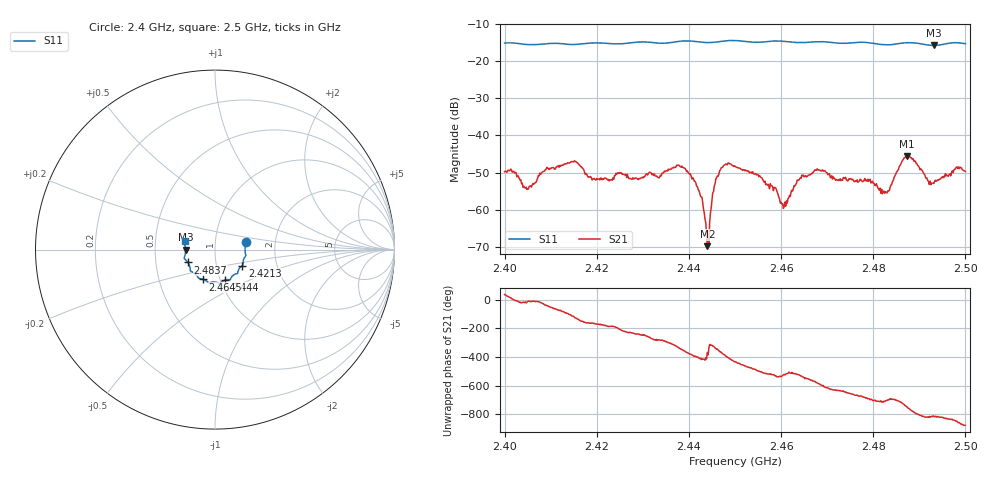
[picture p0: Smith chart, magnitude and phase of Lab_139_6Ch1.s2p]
# Hz S RI R 50
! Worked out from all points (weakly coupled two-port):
!   601 points, 2.4 GHz to 2.5 GHz, reference 50 ohm
!   highest |S21| = -45.60 dB at 2.4873 GHz (marker M1); lowest = -69.9 dB at 2.444 GHz (marker M2)
!   lowest |S11| = -15.7 dB at 2.4932 GHz (marker M3), VSWR 1.39, Z = 35.9 - j0.0544 ohm
!   |S11| at or under -10 dB: start of sweep to end of sweep
!   S12 and S22 are empty: the file has one direction only
!   S11 on the Smith chart (normalised r, x): 2.4 GHz: 1.41, +0.12; 2.4213 GHz: 1.33, -0.25; 2.444 GHz: 1.06, -0.37; 2.4645 GHz: 0.83, -0.29; 2.4837 GHz: 0.73, -0.11; 2.5 GHz: 0.71, +0.07
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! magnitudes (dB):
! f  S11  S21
! 2.4 GHz  -15.1  -49.8
! 2.4048 GHz  -15.5  -54.6
! 2.4093 GHz  -15.2  -48.7
! 2.4167 GHz  -15.3  -48.4
! 2.4213 GHz  -15.1  -51.7
! 2.4333 GHz  -15.1  -51.3
! 2.4377 GHz  -14.7  -48.0
! 2.4398 GHz  -14.5  -50.0
! 2.4425 GHz  -14.8  -56.3
! 2.444 GHz  -15.0  -69.9
! 2.4455 GHz  -14.9  -53.7
! 2.4463 GHz  -14.7  -51.0
! 2.45 GHz  -14.4  -48.3
! 2.4553 GHz  -14.9  -50.8
! 2.4605 GHz  -14.6  -59.7
! 2.4645 GHz  -15.0  -50.7
! 2.4667 GHz  -14.8  -50.2
! 2.4833 GHz  -15.6  -55.0
! 2.4837 GHz  -15.5  -54.0
! 2.4873 GHz  -15.0  -45.6
! 2.4932 GHz  -15.7  -52.9
! 2.5 GHz  -15.3  -49.7
